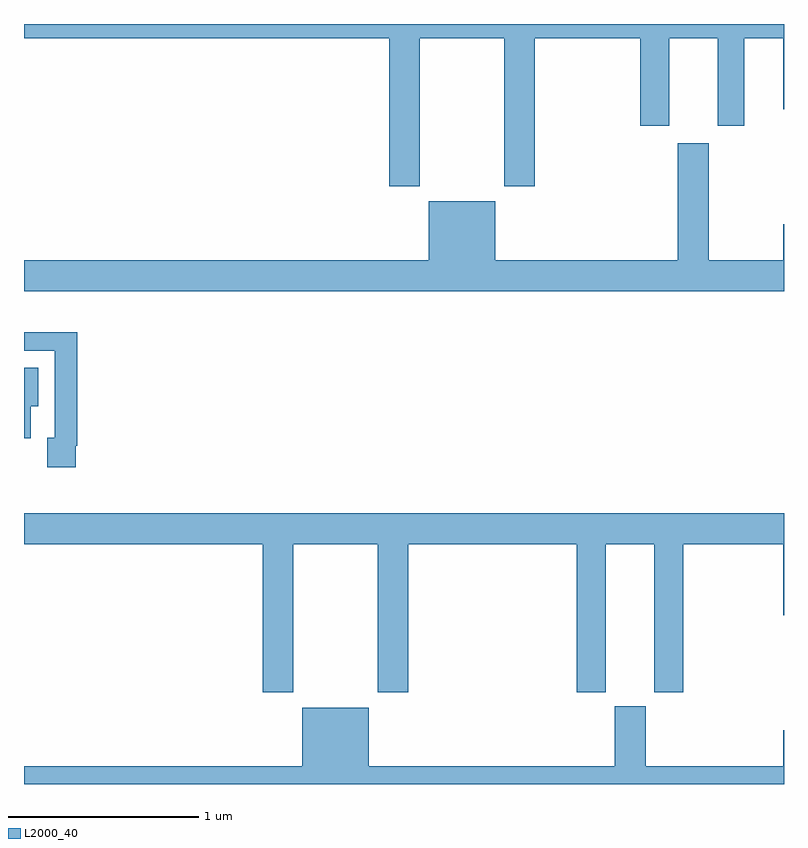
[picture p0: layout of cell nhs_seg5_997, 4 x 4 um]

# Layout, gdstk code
import gdstk
lib = gdstk.Library(unit=1e-6, precision=1e-09)
def P(c, l, *ps):  # polygons
    for p in ps: c.add(gdstk.Polygon(p, *l))
L2000_40 = (2000, 40)

nhs_seg5_997 = lib.new_cell('nhs_seg5_997')
P(nhs_seg5_997, L2000_40, [(175.083,892.724),(175.528,892.724),(175.528,891.945),(175.688,891.945),(175.688,892.724),(176.243,892.724),(176.243,892.263),(176.395,892.263),(176.395,892.724),(176.651,892.724),(176.651,892.263),(176.791,892.263),(176.791,892.724),(176.996,892.724),(176.996,892.35),(177,892.35),(177,892.799),(173,892.799),(173,892.724),(174.923,892.724),(174.923,891.945),(175.083,891.945)],
  [(177,891.745),(176.996,891.745),(176.996,891.556),(176.605,891.556),(176.605,892.171),(176.441,892.171),(176.441,891.556),(175.48,891.556),(175.48,891.865),(175.13,891.865),(175.13,891.556),(173,891.556),(173,891.392),(177,891.392)],
  [(173.272,890.578),(173.279,890.578),(173.279,891.176),(173,891.176),(173,891.078),(173.163,891.078),(173.163,890.622),(173.123,890.622),(173.123,890.466),(173.272,890.466)],
  [(173.035,890.786),(173.074,890.786),(173.074,890.989),(173,890.989),(173,890.618),(173.035,890.618)],
  [(174.417,890.06),(174.862,890.06),(174.862,889.281),(175.022,889.281),(175.022,890.06),(175.91,890.06),(175.91,889.281),(176.062,889.281),(176.062,890.06),(176.318,890.06),(176.318,889.281),(176.471,889.281),(176.471,890.06),(176.996,890.06),(176.996,889.686),(177,889.686),(177,890.224),(173,890.224),(173,890.06),(174.257,890.06),(174.257,889.281),(174.417,889.281)],
  [(177,889.081),(176.996,889.081),(176.996,888.892),(176.272,888.892),(176.272,889.209),(176.108,889.209),(176.108,888.892),(174.814,888.892),(174.814,889.201),(174.464,889.201),(174.464,888.892),(173,888.892),(173,888.799),(177,888.799)])

lib.write_gds('nhs_seg5_997.gds')
